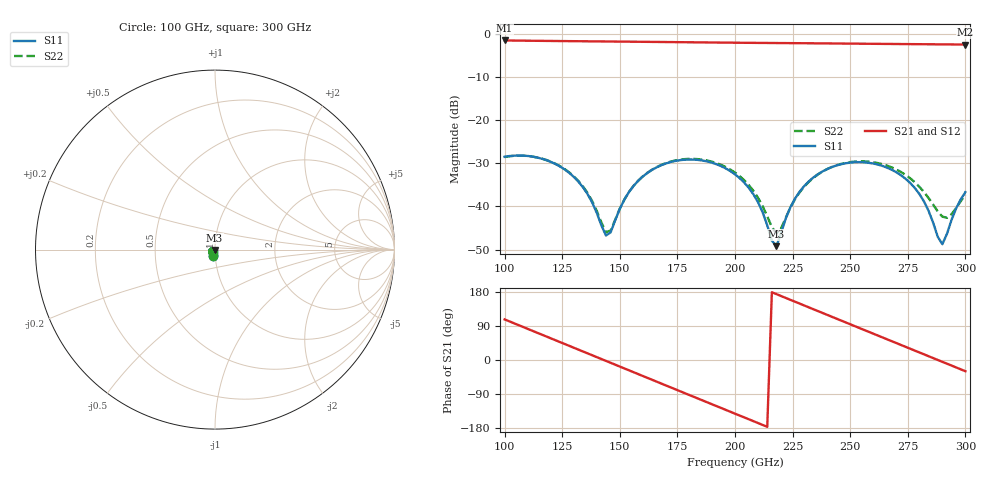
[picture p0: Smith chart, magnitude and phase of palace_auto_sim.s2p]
#  GHZ S DB R 50
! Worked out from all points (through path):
!   101 points, 100 GHz to 300 GHz, reference 50 ohm
!   highest |S21| = -1.53 dB at 100 GHz (marker M1); lowest = -2.5 dB at 300 GHz (marker M2)
!   group delay of S21, straight-line fit = 6.9 ps
!   lowest |S11| = -49.2 dB at 218 GHz (marker M3), VSWR 1.01, Z = 49.7 - j0.213 ohm
!   |S11| at or under -10 dB: start of sweep to end of sweep
!   |S22| runs from -46.3 to -28.2 dB; largest |S21 - S12| = 9.6e-14
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100  -28.48 -110.6  -1.53 107.1  -1.53 107.1  -28.56 -111.3
116  -28.91 -150.2  -1.62 67.3  -1.62 67.3  -28.89 -150.4
126  -31.40 -173.3  -1.67 42.4  -1.67 42.4  -31.31 -173.1
134  -35.54 172.2  -1.71 22.5  -1.71 22.5  -35.35 172.8
144  -46.74 -150.7  -1.76 -2.4  -1.76 -2.4  -45.95 -152.9
146  -46.02 -118.5  -1.77 -7.3  -1.77 -7.3  -45.58 -122.9
152  -38.37 -91.4  -1.80 -22.3  -1.80 -22.3  -38.38 -93.4
156  -35.21 -94.6  -1.82 -32.2  -1.82 -32.2  -35.21 -95.8
168  -30.44 -118.2  -1.88 -62.1  -1.88 -62.1  -30.37 -118.4
184  -29.22 -155.6  -1.97 -101.9  -1.97 -101.9  -29.04 -154.8
200  -32.56 168.1  -2.05 -141.6  -2.05 -141.6  -32.15 170.4
210  -39.03 153.1  -2.09 -166.4  -2.09 -166.4  -38.00 157.7
216  -47.93 178.6  -2.12 178.8  -2.12 178.8  -44.80 178.4
218  -49.21 -141.9  -2.12 173.8  -2.12 173.8  -46.25 -156.2
226  -38.22 -99.0  -2.15 153.9  -2.15 153.9  -38.37 -106.6
234  -33.29 -110.9  -2.19 134.1  -2.19 134.1  -33.38 -114.4
250  -29.84 -145.1  -2.26 94.3  -2.26 94.3  -29.72 -145.9
268  -31.49 175.4  -2.34 49.7  -2.34 49.7  -30.94 177.5
280  -37.09 154.6  -2.39 20.0  -2.39 20.0  -35.42 160.9
290  -48.74 -149.2  -2.43 -4.8  -2.43 -4.8  -42.36 -173.2
294  -43.08 -104.6  -2.45 -14.7  -2.45 -14.7  -41.79 -141.6
300  -36.68 -101.7  -2.47 -29.6  -2.47 -29.6  -37.32 -123.4
